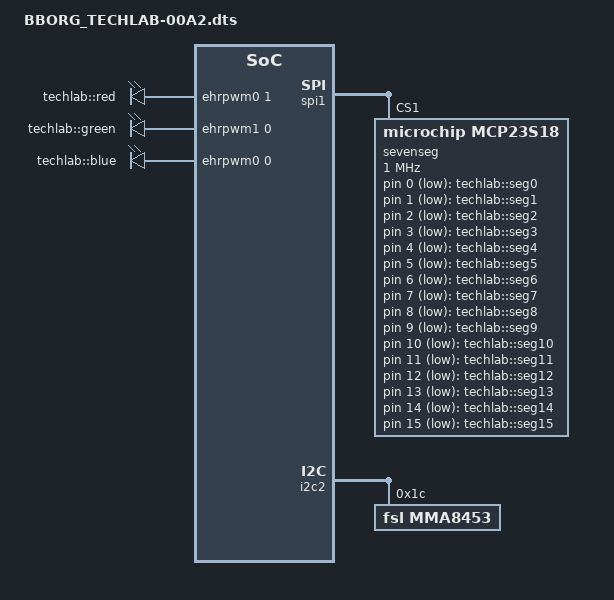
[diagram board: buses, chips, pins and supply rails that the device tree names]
/*
 * Copyright (C) 2017 Robert Nelson <robertcnelson@gmail.com>
 * Copyright (C) 2019 Texas Instruments, Jason Kridner <jdk@ti.com>
 *
 * This program is free software; you can redistribute it and/or modify
 * it under the terms of the GNU General Public License version 2 as
 * published by the Free Software Foundation.
 *
 * For PocketBeagle BaconBits and TechLab capes. Based on
 * PB-SPI1-RTC-5-CLICK.dts and
 * https://github.com/e-ale/Code/blob/master/RESOURCES/spi-drivers/spi-gpio.dts
 */

/dts-v1/;
/plugin/;

#include <dt-bindings/gpio/gpio.h>
#include <dt-bindings/pinctrl/am33xx.h>
#include <dt-bindings/interrupt-controller/irq.h>

/ {
	fragment@0 {
		target = <&spi1>;
		__overlay__ {
			status = "okay";
			channel@0{ status = "disabled"; };
			channel@1{ status = "disabled"; };
		};
	};

	fragment@1 {
		target = <&spi1>;
		__overlay__ {
			#address-cells = <1>;
			#size-cells = <0>;

			sevenseg: mcp23s18@1 {
				#address-cells = <1>;
				#size-cells = <1>;
				#gpio-cells = <2>;
				compatible = "microchip,mcp23s18";
				gpio-controller;
				microchip,spi-present-mask = <0x01>;
				reg = <1>;
				spi-max-frequency = <1000000>;
			};
		};
	};

	/*
	 * Load the drivers for the LEDs.
	 */
	fragment@2 {
		target-path="/";
		__overlay__ {
			techlab_sevenseg {
				compatible = "gpio-leds";

				techlab_sevenseg@0 {
					label = "techlab::seg0";
					gpios = <&sevenseg 0 GPIO_ACTIVE_LOW>;
					default-state = "off";
				};

				techlab_sevenseg@1 {
					label = "techlab::seg1";
					gpios = <&sevenseg 1 GPIO_ACTIVE_LOW>;
					default-state = "off";
				};

				techlab_sevenseg@2 {
					label = "techlab::seg2";
					gpios = <&sevenseg 2 GPIO_ACTIVE_LOW>;
					default-state = "off";
				};

				techlab_sevenseg@3 {
					label = "techlab::seg3";
					gpios = <&sevenseg 3 GPIO_ACTIVE_LOW>;
					default-state = "off";
				};

				techlab_sevenseg@4 {
					label = "techlab::seg4";
					gpios = <&sevenseg 4 GPIO_ACTIVE_LOW>;
					default-state = "off";
				};

				techlab_sevenseg@5 {
					label = "techlab::seg5";
					gpios = <&sevenseg 5 GPIO_ACTIVE_LOW>;
					default-state = "off";
				};

				techlab_sevenseg@6 {
					label = "techlab::seg6";
					gpios = <&sevenseg 6 GPIO_ACTIVE_LOW>;
					default-state = "off";
				};

				techlab_sevenseg@7 {
					label = "techlab::seg7";
					gpios = <&sevenseg 7 GPIO_ACTIVE_LOW>;
					default-state = "off";
				};

				techlab_sevenseg@8 {
					label = "techlab::seg8";
					gpios = <&sevenseg 8 GPIO_ACTIVE_LOW>;
					default-state = "off";
				};

				techlab_sevenseg@9 {
					label = "techlab::seg9";
					gpios = <&sevenseg 9 GPIO_ACTIVE_LOW>;
					default-state = "off";
				};

				techlab_sevenseg@10 {
					label = "techlab::seg10";
					gpios = <&sevenseg 10 GPIO_ACTIVE_LOW>;
					default-state = "off";
				};

				techlab_sevenseg@11 {
					label = "techlab::seg11";
					gpios = <&sevenseg 11 GPIO_ACTIVE_LOW>;
					default-state = "off";
				};

				techlab_sevenseg@12 {
					label = "techlab::seg12";
					gpios = <&sevenseg 12 GPIO_ACTIVE_LOW>;
					default-state = "off";
				};

				techlab_sevenseg@13 {
					label = "techlab::seg13";
					gpios = <&sevenseg 13 GPIO_ACTIVE_LOW>;
					default-state = "off";
				};

				techlab_sevenseg@14 {
					label = "techlab::seg14";
					gpios = <&sevenseg 14 GPIO_ACTIVE_LOW>;
					default-state = "off";
				};

				techlab_sevenseg@15 {
					label = "techlab::seg15";
					gpios = <&sevenseg 15 GPIO_ACTIVE_LOW>;
					default-state = "off";
				};
			};

			techlab_rgb {
				compatible = "pwm-leds";

				techlab_pwm_red {
					// P1_33
					// ehrpwm0B
					//gpios = <&gpio3 15 GPIO_ACTIVE_HIGH>;
					//default-state = "off";
					label = "techlab::red";
					pwms = <&ehrpwm0 1 500000 0>;
					max-brightness = <255>;
				};


				techlab_pwm_green {
					// P2_1
					// ehrpwm1A
					//gpios = <&gpio1 18 GPIO_ACTIVE_HIGH>;
					//default-state = "off";
					label = "techlab::green";
					pwms = <&ehrpwm1 0 500000 0>;
					max-brightness = <255>;
				};

				techlab_pwm_blue {
					// P1_36
					// ehrpwm0A
					//gpios = <&gpio3 14 GPIO_ACTIVE_HIGH>;
					//default-state = "off";
					label = "techlab::blue";
					pwms = <&ehrpwm0 0 500000 0>;
					max-brightness = <255>;
				};
			};
		};
	};

	/*
	 * Load driver for accelerometer
	 */
	fragment@3 {
		target = <&i2c2>;
		__overlay__ {
			#address-cells = <1>;
			#size-cells = <0>;
			mma8453@1c {
				status = "okay";
				compatible = "fsl,mma8453";
				reg = <0x1c>;
			};
		};
	};
};
